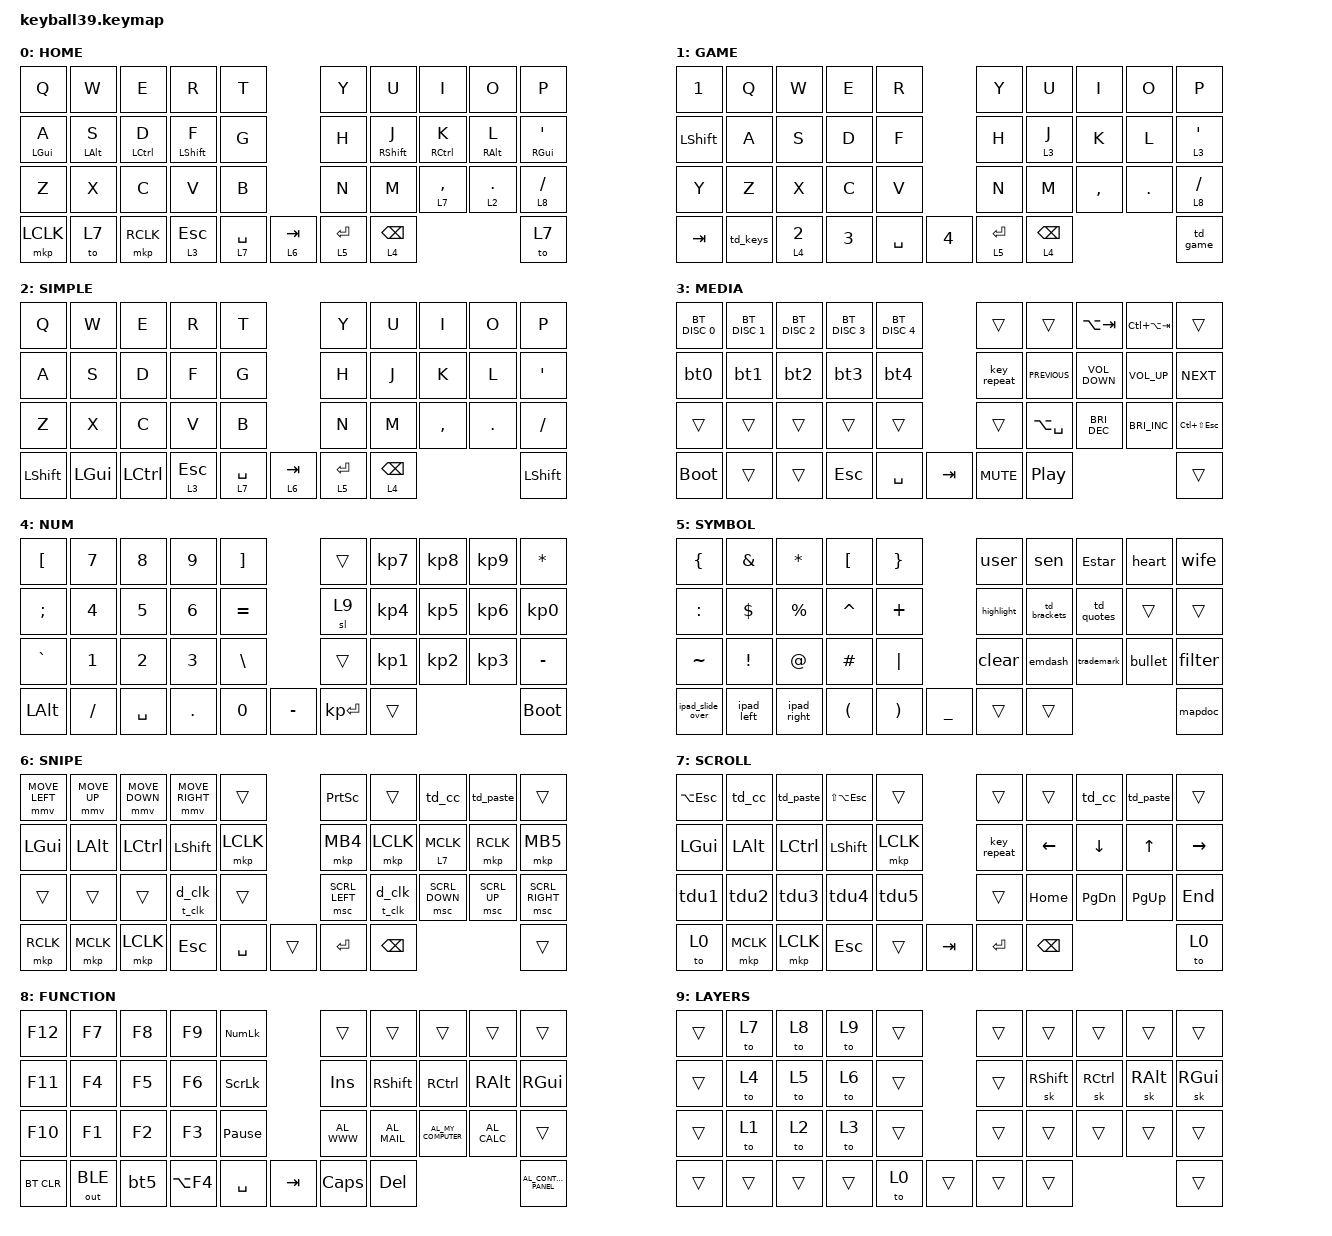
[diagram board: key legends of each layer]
#define DEFAULT 0
#define GAME    1
#define SIMPLE  2
#define MEDIA   3
#define NUMBER  4
#define SYMBOL  5
#define SNIPE   6
#define SCROLL  7
#define FNCT    8
#define LAYERS  9

#include <behaviors/mouse_keys.dtsi>
#include <dt-bindings/zmk/mouse.h>
#include <behaviors.dtsi>
#include <dt-bindings/zmk/bt.h>
#include <dt-bindings/zmk/keys.h>
#include <dt-bindings/zmk/outputs.h>

&lt {
    tapping-term-ms = <100>;
    flavor = "balanced";
    quick-tap-ms = <180>;
};

&mt {
    tapping-term-ms = <200>;
    flavor = "tap-preferred";
    quick-tap-ms = <180>;
};

&sk {
    quick-release;
    release-after-ms = <2000>;
};

&caps_word { continue-list = <UNDERSCORE MINUS>; };

/ {
    behaviors {
        sdash: special_dash {
            compatible = "zmk,behavior-hold-tap";
            label = "SDASH";
            #binding-cells = <2>;
            flavor = "tap-preferred";
            tapping-term-ms = <100>;
            quick-tap-ms = <180>;
            bindings = <&kp>, <&kp>;
        };

        xmclk: special_middle_click {
            compatible = "zmk,behavior-hold-tap";
            label = "XMCLK";
            #binding-cells = <2>;
            flavor = "tap-preferred";
            tapping-term-ms = <100>;
            quick-tap-ms = <180>;
            bindings = <&mo>, <&mkp>;
        };

        td_globe: tap_dance_globe {
            compatible = "zmk,behavior-tap-dance";
            label = "TD_GLOBE";
            #binding-cells = <0>;
            tapping-term-ms = <400>;
            bindings = <&kp GLOBE>, <&kp LG(TAB)>, <&ipad_control>;
        };

        td_globe_2: tap_dance_globe_2 {
            compatible = "zmk,behavior-tap-dance";
            label = "TD_GLOBE_2";
            #binding-cells = <0>;
            tapping-term-ms = <400>;
            bindings = <&kp LG(SPACE)>, <&ipad_dock>, <&ipad_siri>;
        };

        ipad_tools: tap_dance_ipad_tools {
            compatible = "zmk,behavior-tap-dance";
            label = "ipad_tools";
            #binding-cells = <0>;
            tapping-term-ms = <400>;
            bindings =
                <&ipad_home>,
                <&ipad_switcher>,
                <&ipad_library>;
        };

        xpaste: special_paste {
            compatible = "zmk,behavior-hold-tap";
            label = "X_PASTE";
            #binding-cells = <2>;
            flavor = "tap-preferred";
            tapping-term-ms = <180>;
            quick-tap-ms = <180>;
            bindings = <&spaste>, <&kp>;
        };

        xcopy: special_copy {
            compatible = "zmk,behavior-hold-tap";
            label = "X_COPY";
            #binding-cells = <2>;
            flavor = "tap-preferred";
            tapping-term-ms = <180>;
            quick-tap-ms = <180>;
            bindings = <&kp>, <&kp>;
        };

        td_paste: tap_dance_paste {
            compatible = "zmk,behavior-tap-dance";
            label = "TD_PASTE";
            #binding-cells = <0>;
            tapping-term-ms = <180>;
            bindings = <&xpaste 0 LC(V)>, <&kp LG(LS(V))>;
        };

        td_cc: tap_dance_cut_copy {
            compatible = "zmk,behavior-tap-dance";
            label = "TD_CUTCOPY";
            #binding-cells = <0>;
            tapping-term-ms = <180>;
            bindings = <&xcopy LC(X) LC(C)>;
        };

        xlt: goto_layer {
            compatible = "zmk,behavior-hold-tap";
            label = "X_LT";
            #binding-cells = <2>;
            flavor = "tap-preferred";
            tapping-term-ms = <200>;
            quick-tap-ms = <180>;
            bindings = <&mo>, <&kp>;
        };

        slt: simple_layer {
            compatible = "zmk,behavior-hold-tap";
            label = "S_LT";
            #binding-cells = <2>;
            flavor = "tap-preferred";
            tapping-term-ms = <200>;
            quick-tap-ms = <180>;
            bindings = <&kp>, <&to>;
        };

        tdu1: tap_dance_ultrawide_1 {
            compatible = "zmk,behavior-tap-dance";
            label = "TD_ULTRAWIDE_1";
            #binding-cells = <0>;
            tapping-term-ms = <180>;
            bindings = <&kp LC(LG(LA(N1)))>;
        };

        tdu2: tap_dance_ultrawide_2 {
            compatible = "zmk,behavior-tap-dance";
            label = "TD_ULTRAWIDE_2";
            #binding-cells = <0>;
            tapping-term-ms = <180>;
            bindings = <&kp LC(LG(LA(N2)))>;
        };

        tdu3: tap_dance_ultrawide_3 {
            compatible = "zmk,behavior-tap-dance";
            label = "TD_ULTRAWIDE_3";
            #binding-cells = <0>;
            tapping-term-ms = <180>;
            bindings = <&kp LC(LG(LA(N3)))>;
        };

        tdu4: tap_dance_ultrawide_4 {
            compatible = "zmk,behavior-tap-dance";
            label = "TD_ULTRAWIDE_4";
            #binding-cells = <0>;
            tapping-term-ms = <180>;
            bindings = <&kp LC(LG(LA(N4)))>;
        };

        tdu5: tap_dance_ultrawide_5 {
            compatible = "zmk,behavior-tap-dance";
            label = "TD_ULTRAWIDE_5";
            #binding-cells = <0>;
            tapping-term-ms = <180>;
            bindings = <&kp LC(LG(LA(N5)))>;
        };

        xquotes: special_quotes {
            compatible = "zmk,behavior-hold-tap";
            label = "X_QUOTES";
            #binding-cells = <2>;
            flavor = "tap-preferred";
            tapping-term-ms = <50>;
            quick-tap-ms = <120>;
            bindings = <&dquotes>, <&squote>;
        };

        xbrackets: special_brackets {
            compatible = "zmk,behavior-hold-tap";
            label = "X_BRACKETS";
            #binding-cells = <2>;
            flavor = "tap-preferred";
            tapping-term-ms = <50>;
            quick-tap-ms = <120>;
            bindings = <&bracket>, <&parenthesis>;
        };

        xdclk: special_double_click {
            compatible = "zmk,behavior-hold-tap";
            label = "X_DCLK";
            #binding-cells = <2>;
            flavor = "tap-preferred";
            tapping-term-ms = <180>;
            quick-tap-ms = <120>;
            bindings = <&t_clk>, <&d_clk>;
        };

        td_brackets: tap_dance_bracket {
            compatible = "zmk,behavior-tap-dance";
            label = "TD_BRACKET";
            #binding-cells = <0>;
            tapping-term-ms = <180>;
            bindings = <&xbrackets 0 0>, <&brace>;
        };

        td_quotes: tap_dance_quotes {
            compatible = "zmk,behavior-tap-dance";
            label = "TD_QUOTES";
            #binding-cells = <0>;
            tapping-term-ms = <180>;
            bindings = <&xquotes 0 0>, <&lessgreaterthan>;
        };

        x_home: special_home {
            compatible = "zmk,behavior-hold-tap";
            label = "X_HOME";
            #binding-cells = <2>;
            flavor = "tap-preferred";
            tapping-term-ms = <100>;
            quick-tap-ms = <180>;
            bindings = <&kp>, <&kp>;
        };

        x_end: special_end {
            compatible = "zmk,behavior-hold-tap";
            label = "X_END";
            #binding-cells = <2>;
            flavor = "tap-preferred";
            tapping-term-ms = <100>;
            quick-tap-ms = <180>;
            bindings = <&kp>, <&kp>;
        };

        x_ipl: special_ipad_left {
            compatible = "zmk,behavior-hold-tap";
            label = "X_IPAD_LEFT";
            #binding-cells = <2>;
            flavor = "tap-preferred";
            tapping-term-ms = <180>;
            quick-tap-ms = <180>;
            bindings = <&ipad_slidemoveleft>, <&ipad_tileleft>;
        };

        x_ipr: special_ipad_right {
            compatible = "zmk,behavior-hold-tap";
            label = "X_IPAD_RIGHT";
            #binding-cells = <2>;
            flavor = "tap-preferred";
            tapping-term-ms = <180>;
            quick-tap-ms = <180>;
            bindings = <&ipad_slidemoveright>, <&ipad_tileright>;
        };

        ipad_left: tap_dance_ipad_left {
            compatible = "zmk,behavior-tap-dance";
            label = "ipad_left";
            #binding-cells = <0>;
            tapping-term-ms = <180>;
            bindings = <&ipad_prevapp>, <&x_ipl 0 0>;
        };

        ipad_right: tap_dance_ipad_right {
            compatible = "zmk,behavior-tap-dance";
            label = "ipad_right";
            #binding-cells = <0>;
            tapping-term-ms = <180>;
            bindings = <&ipad_nextapp>, <&x_ipr 0 0>;
        };

        ipad_slide_over: tap_dance_ipad_slide_over {
            compatible = "zmk,behavior-tap-dance";
            label = "ipad_slide_over";
            #binding-cells = <0>;
            tapping-term-ms = <400>;
            bindings =
                <&ipad_slide>,
                <&ipad_slidenextwindow>,
                <&ipad_full>,
                <&ipad_replace>;
        };

        td_keys: tap_dance_keys {
            compatible = "zmk,behavior-tap-dance";
            label = "TD_KEYS";
            #binding-cells = <0>;
            tapping-term-ms = <180>;
            bindings = <&kp J>, <&kp T>, <&kp G>, <&kp B>;
        };

        td_game: tap_dance_game {
            compatible = "zmk,behavior-tap-dance";
            label = "TD_GAME";
            #binding-cells = <0>;
            tapping-term-ms = <180>;
            bindings = <&kp LA(F1)>, <&kp LS(LA(F1))>, <&kp LA(Z)>, <&kp LA(F9)>, <&kp LA(R)>;
        };
    };

    macros {
        trademark: trademark {
            compatible = "zmk,behavior-macro";
            #binding-cells = <0>;
            tap-ms = <30>;
            bindings =
                <&macro_press>,
                <&kp LALT>,
                <&macro_tap>,
                <&kp KP_N0 &kp KP_N1 &kp KP_N5 &kp KP_N3>,
                <&macro_release>,
                <&kp LALT>;

            label = "trademark";
        };

        bullet: bullet {
            compatible = "zmk,behavior-macro";
            #binding-cells = <0>;
            tap-ms = <30>;
            bindings =
                <&macro_press>,
                <&kp LALT>,
                <&macro_tap>,
                <&kp KP_N0 &kp KP_N1 &kp KP_N4 &kp KP_N9>,
                <&macro_release>,
                <&kp LALT>;

            label = "bullet";
        };

        emdash: emdash {
            compatible = "zmk,behavior-macro";
            #binding-cells = <0>;
            tap-ms = <30>;
            bindings =
                <&macro_press>,
                <&kp LALT>,
                <&macro_tap>,
                <&kp KP_N0 &kp KP_N1 &kp KP_N5 &kp KP_N1>,
                <&macro_release>,
                <&kp LALT>;

            label = "emdash";
        };

        heart: heart {
            compatible = "zmk,behavior-macro";
            #binding-cells = <0>;
            tap-ms = <30>;
            bindings =
                <&macro_press>,
                <&kp LALT>,
                <&macro_tap>,
                <&kp KP_N3>,
                <&macro_release>,
                <&kp LALT>;

            label = "heart";
        };

        filter: filter {
            compatible = "zmk,behavior-macro";
            #binding-cells = <0>;
            bindings =
                <&macro_press>,
                <&kp LALT>,
                <&macro_tap>,
                <&kp DOWN &kp E>,
                <&macro_release>,
                <&kp LALT>;

            label = "filter";
        };

        highlight: highlight {
            compatible = "zmk,behavior-macro";
            #binding-cells = <0>;
            tap-ms = <30>;
            bindings = <&kp LALT &kp N7 &kp W &kp DOWN &kp DOWN &kp DOWN &kp DOWN &kp DOWN &kp ENTER>;
            label = "highlight";
        };

        clear: clear {
            compatible = "zmk,behavior-macro";
            #binding-cells = <0>;
            tap-ms = <30>;
            bindings =
                <&macro_press>,
                <&kp LGUI>,
                <&macro_tap>,
                <&kp R>,
                <&macro_release>,
                <&kp LGUI>,
                <&macro_wait_time 200>,
                <&macro_press>,
                <&kp LGUI>,
                <&macro_tap>,
                <&kp V>,
                <&macro_release>,
                <&kp LGUI>,
                <&macro_wait_time 300>,
                <&macro_press>,
                <&kp LSFT>,
                <&macro_tap>,
                <&kp TAB>,
                <&macro_tap>,
                <&kp TAB>,
                <&macro_release>,
                <&kp LSFT>,
                <&macro_tap>,
                <&kp ENTER>,
                <&macro_tap>,
                <&kp ESCAPE>,
                <&macro_tap>,
                <&kp ESCAPE>;

            label = "clear";
        };

        spaste: spaste {
            compatible = "zmk,behavior-macro";
            #binding-cells = <0>;
            bindings = <&kp LG(LS(V))>, <&macro_wait_time 400>, <&kp LC(N1)>;

            label = "spaste";
        };

        parenthesis: parenthesis {
            compatible = "zmk,behavior-macro";
            #binding-cells = <0>;
            bindings = <&kp LEFT_PARENTHESIS &kp RIGHT_PARENTHESIS &kp LEFT>;
            label = "parenthesis";
        };

        bracket: bracket {
            compatible = "zmk,behavior-macro";
            #binding-cells = <0>;
            bindings = <&kp LEFT_BRACKET &kp RIGHT_BRACKET &kp LEFT>;
            label = "bracket";
        };

        brace: brace {
            compatible = "zmk,behavior-macro";
            #binding-cells = <0>;
            bindings = <&kp LEFT_BRACE &kp RIGHT_BRACE &kp LEFT>;
            label = "brace";
        };

        lessgreaterthan: lessgreaterthan {
            compatible = "zmk,behavior-macro";
            #binding-cells = <0>;
            bindings = <&kp LESS_THAN &kp GREATER_THAN &kp LEFT>;
            label = "lessgreaterthan";
        };

        squote: squote {
            compatible = "zmk,behavior-macro";
            #binding-cells = <0>;
            bindings = <&kp SINGLE_QUOTE &kp SINGLE_QUOTE &kp LEFT>;
            label = "squote";
        };

        dquotes: dquotes {
            compatible = "zmk,behavior-macro";
            #binding-cells = <0>;
            bindings = <&kp DOUBLE_QUOTES &kp DOUBLE_QUOTES &kp LEFT>;
            label = "dquotes";
        };

        t_mute: t_mute {
            compatible = "zmk,behavior-macro";
            #binding-cells = <0>;
            bindings = <&mkp LCLK &kp LC(LS(M))>;
            label = "t_mute";
        };

        ipad_home: ipad_home {
            compatible = "zmk,behavior-macro";
            #binding-cells = <0>;
            tap-ms = <30>;
            bindings =
                <&macro_press>,
                <&kp GLOBE>,
                <&macro_tap>,
                <&kp H>,
                <&macro_release>,
                <&kp GLOBE>;

            label = "ipad_home";
        };

        ipad_dock: ipad_dock {
            compatible = "zmk,behavior-macro";
            #binding-cells = <0>;
            tap-ms = <30>;
            bindings =
                <&macro_press>,
                <&kp GLOBE>,
                <&macro_tap>,
                <&kp A>,
                <&macro_release>,
                <&kp GLOBE>;

            label = "ipad_dock";
        };

        ipad_library: ipad_library {
            compatible = "zmk,behavior-macro";
            #binding-cells = <0>;
            tap-ms = <30>;
            bindings =
                <&macro_press>,
                <&kp LSHIFT &kp GLOBE>,
                <&macro_tap>,
                <&kp A>,
                <&macro_release>,
                <&kp LSHIFT &kp GLOBE>;

            label = "ipad_library";
        };

        ipad_siri: ipad_siri {
            compatible = "zmk,behavior-macro";
            #binding-cells = <0>;
            tap-ms = <30>;
            bindings =
                <&macro_press>,
                <&kp GLOBE>,
                <&macro_tap>,
                <&kp S>,
                <&macro_release>,
                <&kp GLOBE>;

            label = "ipad_siri";
        };

        ipad_control: ipad_control {
            compatible = "zmk,behavior-macro";
            #binding-cells = <0>;
            tap-ms = <30>;
            bindings =
                <&macro_press>,
                <&kp GLOBE>,
                <&macro_tap>,
                <&kp C>,
                <&macro_release>,
                <&kp GLOBE>;

            label = "ipad_control";
        };

        ipad_switcher: ipad_switcher {
            compatible = "zmk,behavior-macro";
            #binding-cells = <0>;
            tap-ms = <30>;
            bindings =
                <&macro_press>,
                <&kp GLOBE>,
                <&macro_tap>,
                <&kp UP>,
                <&macro_release>,
                <&kp GLOBE>;

            label = "ipad_switcher";
        };

        ipad_nextapp: ipad_nextapp {
            compatible = "zmk,behavior-macro";
            #binding-cells = <0>;
            tap-ms = <30>;
            bindings =
                <&macro_press>,
                <&kp GLOBE>,
                <&macro_tap>,
                <&kp RIGHT>,
                <&macro_release>,
                <&kp GLOBE>;

            label = "ipad_nextapp";
        };

        ipad_prevapp: ipad_prevapp {
            compatible = "zmk,behavior-macro";
            #binding-cells = <0>;
            tap-ms = <30>;
            bindings =
                <&macro_press>,
                <&kp GLOBE>,
                <&macro_tap>,
                <&kp LEFT>,
                <&macro_release>,
                <&kp GLOBE>;

            label = "ipad_prevapp";
        };

        ipad_full: ipad_full {
            compatible = "zmk,behavior-macro";
            #binding-cells = <0>;
            tap-ms = <30>;
            bindings =
                <&macro_press>,
                <&kp GLOBE>,
                <&macro_tap>,
                <&kp F>,
                <&macro_release>,
                <&kp GLOBE>;

            label = "ipad_full";
        };

        ipad_tileleft: ipad_tileleft {
            compatible = "zmk,behavior-macro";
            #binding-cells = <0>;
            tap-ms = <30>;
            bindings =
                <&macro_press>,
                <&kp LCTRL &kp GLOBE>,
                <&macro_tap>,
                <&kp LEFT>,
                <&macro_release>,
                <&kp LCTRL &kp GLOBE>;

            label = "ipad_tileleft";
        };

        ipad_tileright: ipad_tileright {
            compatible = "zmk,behavior-macro";
            #binding-cells = <0>;
            tap-ms = <30>;
            bindings =
                <&macro_press>,
                <&kp LCTRL &kp GLOBE>,
                <&macro_tap>,
                <&kp RIGHT>,
                <&macro_release>,
                <&kp LCTRL &kp GLOBE>;

            label = "ipad_tileright";
        };

        ipad_replace: ipad_replace {
            compatible = "zmk,behavior-macro";
            #binding-cells = <0>;
            tap-ms = <30>;
            bindings =
                <&macro_press>,
                <&kp LCTRL &kp GLOBE>,
                <&macro_tap>,
                <&kp DOWN>,
                <&macro_release>,
                <&kp LCTRL &kp GLOBE>;

            label = "ipad_replace";
        };

        ipad_slide: ipad_slide {
            compatible = "zmk,behavior-macro";
            #binding-cells = <0>;
            tap-ms = <30>;
            bindings =
                <&macro_press>,
                <&kp GLOBE>,
                <&macro_tap>,
                <&kp BSLH>,
                <&macro_release>,
                <&kp GLOBE>;

            label = "ipad_slide";
        };

        ipad_slidemoveleft: ipad_slidemoveleft {
            compatible = "zmk,behavior-macro";
            #binding-cells = <0>;
            tap-ms = <30>;
            bindings =
                <&macro_press>,
                <&kp LALT &kp GLOBE>,
                <&macro_tap>,
                <&kp LEFT>,
                <&macro_release>,
                <&kp LALT &kp GLOBE>;

            label = "ipad_slidemoveleft";
        };

        ipad_slidemoveright: ipad_slidemoveright {
            compatible = "zmk,behavior-macro";
            #binding-cells = <0>;
            tap-ms = <30>;
            bindings =
                <&macro_press>,
                <&kp LALT &kp GLOBE>,
                <&macro_tap>,
                <&kp RIGHT>,
                <&macro_release>,
                <&kp LALT &kp GLOBE>;

            label = "ipad_slidemoveright";
        };

        ipad_slidenextwindow: ipad_slidenextwindow {
            compatible = "zmk,behavior-macro";
            #binding-cells = <0>;
            tap-ms = <30>;
            bindings =
                <&macro_press>,
                <&kp LGUI &kp GLOBE>,
                <&macro_tap>,
                <&kp BSLH>,
                <&macro_release>,
                <&kp LGUI &kp GLOBE>;

            label = "ipad_slidenextwindow";
        };

        sen: sen {
            compatible = "zmk,behavior-macro";
            #binding-cells = <0>;
            bindings = <&kp S &kp R &kp O &kp G &kp E &kp N4 &kp N4 &kp LS(C) &kp LS(A) &kp RET>;
            label = "SEN";
        };

        bt0: bt0 {
            compatible = "zmk,behavior-macro";
            #binding-cells = <0>;
            bindings = <&bt BT_SEL 0>, <&bt BT_DISC 2>, <&bt BT_DISC 4>;
            label = "bt0";
        };

        bt1: bt1 {
            compatible = "zmk,behavior-macro";
            #binding-cells = <0>;
            bindings = <&bt BT_SEL 1>, <&bt BT_DISC 2>, <&bt BT_DISC 4>;
            label = "bt1";
        };

        bt2: bt2 {
            compatible = "zmk,behavior-macro";
            #binding-cells = <0>;
            bindings = <&bt BT_SEL 2>, <&bt BT_DISC 4>;
            label = "bt2";
        };

        bt3: bt3 {
            compatible = "zmk,behavior-macro";
            #binding-cells = <0>;
            bindings = <&bt BT_SEL 3>, <&bt BT_DISC 2>, <&bt BT_DISC 4>;
            label = "bt3";
        };

        bt4: bt4 {
            compatible = "zmk,behavior-macro";
            #binding-cells = <0>;
            bindings = <&bt BT_SEL 4>, <&bt BT_DISC 2>;
            label = "bt4";
        };

        bt5: bt5 {
            compatible = "zmk,behavior-macro";
            #binding-cells = <0>;
            bindings = <&out OUT_USB>, <&bt BT_DISC 2>, <&bt BT_DISC 4>;
            label = "bt5";
        };

        user: user {
            compatible = "zmk,behavior-macro";
            #binding-cells = <0>;
            bindings = <&kp S &kp E &kp A &kp N &kp DOT &kp C &kp H &kp E &kp O &kp W &kp AT &kp R &kp C &kp I &kp DOT &kp R &kp O &kp G &kp E &kp R &kp S &kp DOT &kp C &kp A>;
            label = "user";
        };

        wife: wife {
            compatible = "zmk,behavior-macro";
            #binding-cells = <0>;
            bindings = <&kp LS(I) &kp SPACE &kp L &kp O &kp V &kp E &kp SPACE &kp Y &kp O &kp U &kp SPACE &kp LS(V) &kp I &kp C &kp T &kp O &kp R &kp I &kp A &kp EXCL &kp EXCL &kp EXCL>;
            label = "wife";
        };

        mapdoc: mapdoc {
            compatible = "zmk,behavior-macro";
            #binding-cells = <0>;
            bindings = <&kp R &kp B &kp DOT &kp G &kp Y &kp FSLH &kp X &kp D &kp G &kp V &kp R &kp N9>;
            label = "MAPDOC";
        };

        Estar: Estar {
            compatible = "zmk,behavior-macro";
            #binding-cells = <0>;
            bindings = <&kp N8 &kp N3 &kp LS(A) &kp LS(A) &kp AMPS &kp Y &kp STAR &kp APOS>;
            label = "ESTAR";
        };

        d_clk: double_click_macro {
            compatible = "zmk,behavior-macro";
            #binding-cells = <0>;
            wait-ms = <10>;  
            tap-ms = <10>;  
            bindings = <&mkp LCLK &mkp LCLK>;
        };

        t_clk: triple_click_macro {
            compatible = "zmk,behavior-macro";
            #binding-cells = <0>;
            wait-ms = <10>;  
            tap-ms = <10>;  
            bindings = <&mkp LCLK &mkp LCLK &mkp LCLK>;
        };
    };

    combos {
        compatible = "zmk,combos";

        mdot_DEL {
            bindings = <&kp DELETE>;
            key-positions = <26 28>;
            layers = <0>;
            timeout-ms = <60>;
        };

        punc_LSFT {
            bindings = <&sk LEFT_SHIFT>;
            key-positions = <27 28>;
            layers = <0>;
            timeout-ms = <60>;
        };

        xc_LSFT {
            bindings = <&sk LSHIFT>;
            key-positions = <21 22>;
            layers = <0>;
            timeout-ms = <60>;
        };

        sticky_CTRL {
            bindings = <&sk LCTRL>;
            key-positions = <0 9>;
            layers = <0>;
            require-prior-idle-ms = <400>;
            timeout-ms = <60>;
        };

        sticky_ALT {
            bindings = <&sk LEFT_ALT>;
            key-positions = <20 29>;
            layers = <0>;
            require-prior-idle-ms = <400>;
            timeout-ms = <60>;
        };

        vm_UNDERSCORE_DASH {
            bindings = <&sdash UNDERSCORE MINUS>;
            key-positions = <23 26>;
            layers = <0>;
            require-prior-idle-ms = <200>;
            timeout-ms = <60>;
        };

        jk_LCLK {
            bindings = <&mkp LCLK>;
            key-positions = <16 17>;
            layers = <0 1 6>;
            require-prior-idle-ms = <200>;
            timeout-ms = <70>;

        };

        ll_RCLK {
            bindings = <&mkp RCLK>;
            key-positions = <19 18>;
            layers = <0 1 6>;
            require-prior-idle-ms = <200>;
            timeout-ms = <70>;
        };

        mm_MCLK {
            bindings = <&mkp MCLK>;
            key-positions = <26 27>;
            layers = <0 1 6>;
            require-prior-idle-ms = <200>;
            timeout-ms = <60>;
        };

        zv_TASKS {
            bindings = <&kp LC(LA(TAB))>;
            key-positions = <20 23>;
            layers = <0 6>;
            require-prior-idle-ms = <180>;
            timeout-ms = <70>;
        };

        esc_TASKS {
            bindings = <&kp LC(LA(TAB))>;
            key-positions = <8 33>;
            layers = <0 6>;
            timeout-ms = <70>;
        };

        xv_SWITCH {
            bindings = <&kp LA(TAB)>;
            key-positions = <21 23>;
            layers = <0 6>;
            require-prior-idle-ms = <180>;
            timeout-ms = <70>;
        };

        esc_SWITCH {
            bindings = <&kp LA(TAB)>;
            key-positions = <7 33>;
            layers = <0 6>;
            timeout-ms = <70>;
        };

        mslash_LAUNCHER {
            bindings = <&kp LA(SPACE)>;
            key-positions = <26 29>;
            layers = <0 6>;
            require-prior-idle-ms = <180>;
            timeout-ms = <70>;
        };

        esc_LAUNCHER {
            bindings = <&kp LA(SPACE)>;
            key-positions = <26 33>;
            layers = <0 6>;
            timeout-ms = <70>;
        };

        esc_TASK_MANAGER {
            bindings = <&kp LC(LS(ESCAPE))>;
            key-positions = <29 33>;
            layers = <0 6>;
            timeout-ms = <70>;
        };

        cv_MENU {
            bindings = <&kp K_CONTEXT_MENU>;
            key-positions = <22 23>;
            layers = <0 6>;
            require-prior-idle-ms = <200>;
            timeout-ms = <60>;
        };

        quick_clipboard {
            bindings = <&kp LG(V)>;
            key-positions = <19 23>;
            layers = <0>;
            require-prior-idle-ms = <400>;
            timeout-ms = <60>;
        };

        quick_clipboard_2 {
            bindings = <&kp LG(V)>;
            key-positions = <10 23>;
            layers = <0>;
            require-prior-idle-ms = <400>;
            timeout-ms = <60>;
        };

        quick_home {
            bindings = <&x_home LS(HOME) HOME>;
            key-positions = <26 34>;
            timeout-ms = <70>;
            require-prior-idle-ms = <500>;
            layers = <0>;
        };

        quick_end {
            bindings = <&x_end LS(END) END>;
            key-positions = <29 34>;
            timeout-ms = <70>;
            require-prior-idle-ms = <500>;
            layers = <0>;
        };

        quick_repeat {
             bindings = <&key_repeat>;
             key-positions = <15 34>;
             timeout-ms = <70>;
             require-prior-idle-ms = <500>;
             layers = <0>;
         };

        dbl_CLK {
            bindings = <&xdclk 0 0>;
            key-positions = <26 35>;
            layers = <0>;
            timeout-ms = <70>;
        };

        extra_dbl_CLK {
            bindings = <&xdclk 0 0>;
            key-positions = <23 35>;
            layers = <0>;
            timeout-ms = <70>;
        };

        extra_LCLK {
            bindings = <&mkp LCLK>;
            key-positions = <16 35>;
            layers = <0>;
            timeout-ms = <70>;
        };

        extra_LCLK_2 {
            bindings = <&mkp LCLK>;
            key-positions = <14 35>;
            layers = <0>;
            timeout-ms = <70>;
            slow-release;
        };

        extra_LCLK_3 {
            bindings = <&mkp LCLK>;
            key-positions = <13 35>;
            layers = <0>;
            slow-release;
        };

        extra_RCLK {
            bindings = <&mkp RCLK>;
            key-positions = <18 35>;
            layers = <0>;
            timeout-ms = <70>;
            slow-release;
        };

        extra_RCLK_2 {
            bindings = <&mkp RCLK>;
            key-positions = <30 32>;
            timeout-ms = <70>;
            layers = <0>;
        };

        extra_MB4 {
            bindings = <&mkp MB4>;
            key-positions = <15 35>;
            timeout-ms = <70>;
            layers = <0>;
        };

        extra_MB5 {
            bindings = <&mkp MB5>;
            key-positions = <19 35>;
            timeout-ms = <70>;
            layers = <0>;
        };

        extra_COPY {
            bindings = <&td_cc>;
            key-positions = <7 35>;
            timeout-ms = <70>;
            layers = <0>;
        };

        extra_PASTE {
            bindings = <&td_paste>;
            key-positions = <8 35>;
            timeout-ms = <70>;
            layers = <0>;
        };

        easy_exit {
            bindings = <&to 0>;
            key-positions = <31 32>;
            layers = <0 1 2 3 4 5 6 7 8 9>;
        };

        game_sticky {
            bindings = <&sl 2>;
            key-positions = <30 32>;
            layers = <1>;
        };

        game_escape {
            bindings = <&kp ESCAPE>;
            key-positions = <33 23>;
            layers = <1>;
        };

        home_to_game {
            bindings = <&to 1>;
            key-positions = <30 31>;
            layers = <0>;
        };

        game_to_home {
            bindings = <&to 0>;
            key-positions = <30 31>;
            layers = <1>;
        };

       game_map {
            bindings = <&kp M>;
            key-positions = <20 22>;
            layers = <1>;
            timeout-ms = <60>;
        };

        quick_globe {
            bindings = <&td_globe>;
            key-positions = <20 21>;
            timeout-ms = <70>;
            require-prior-idle-ms = <400>;
            layers = <0>;
        };

        quick_ipad_tools {
            bindings = <&ipad_tools>;
            key-positions = <28 29>;
            timeout-ms = <70>;
            require-prior-idle-ms = <400>;
            layers = <0>;
        };

        quick_ipad_extra {
            bindings = <&td_globe_2>;
            key-positions = <20 21 28 29>;
            timeout-ms = <70>;
            require-prior-idle-ms = <400>;
            layers = <0>;
        };

        mm_CAPSWORD {
            bindings = <&caps_word>;
            key-positions = <21 28>;
            layers = <0>;
            timeout-ms = <70>;
        };

        mm_CAPS {
            bindings = <&kp CAPSLOCK>;
            key-positions = <22 27>;
            layers = <0>;
            timeout-ms = <70>;
        };

        quick_mute {
            bindings = <&t_mute>;
            key-positions = <23 33>;
            layers = <0 3>;
            require-prior-idle-ms = <500>;
        };

        quick_layers {
            bindings = <&sl 9>;
            key-positions = <15 37>;
            layers = <0 1 2 3 4 5 6 7 8 9>;
            require-prior-idle-ms = <400>;
            timeout-ms = <70>;
        };
    };

    keymap {
        compatible = "zmk,keymap";

        default_layer {
            label = "HOME";
            bindings = <
&kp Q           &kp W           &kp E        &kp R             &kp T                                &kp Y            &kp U        &kp I         &kp O            &kp P
&mt LGUI A      &mt LALT S      &mt LCTRL D  &mt LSHFT F       &kp G                                &kp H            &mt RSHFT J  &mt RCTRL K   &mt RALT L       &mt RGUI SQT
&kp Z           &kp X           &kp C        &kp V             &kp B                                &kp N            &kp M        &xlt 7 COMMA  &xlt 2 DOT       &xlt 8 SLASH
&mkp LCLK       &to 7           &mkp RCLK    &lt 3 ESCAPE      &lt 7 SPACE  &lt 6 TAB  &lt 5 ENTER  &lt 4 BACKSPACE                                              &to 7
            >;
        };

        gaming_layer {
            bindings = <
&kp N1          &kp Q       &kp W    &kp E         &kp R                                 &kp Y            &kp U  &kp I      &kp O    &kp P
&kp LEFT_SHIFT  &kp A       &kp S    &kp D         &kp F                                 &kp H            &lt 3 J &kp K     &kp L    &lt 3 APOS
&kp Y           &kp Z       &kp X    &kp C         &kp V                                 &kp N            &kp M  &kp COMMA  &kp DOT  &lt 8 SLASH
&kp TAB         &td_keys    &xlt 4 N2 &kp N3       &kp SPACE  &kp N4  &lt 5 ENTER        &lt 4 BACKSPACE                             &td_game
            >;

            label = "GAME";
        };

        simple_layer {
            bindings = <
&kp Q           &kp W         &kp E      &kp R       &kp T                            &kp Y            &kp U  &kp I      &kp O    &kp P
&kp A           &kp S         &kp D      &kp F       &kp G                            &kp H            &kp J  &kp K      &kp L    &kp APOS
&kp Z           &kp X         &kp C      &kp V       &kp B                            &kp N            &kp M  &kp COMMA  &kp DOT  &kp FSLH
&kp LSHFT       &kp LGUI      &kp LCTRL  &lt 3 ESC   &lt 7 SPACE  &lt 6 TAB  &lt 5 ENTER  &lt 4 BACKSPACE                         &kp LSHFT
            >;

            label = "SIMPLE";
        };

        media_layer {
            label = "MEDIA";
            bindings = <
&bt BT_DISC 0  &bt BT_DISC 1     &bt BT_DISC 2  &bt BT_DISC 3  &bt BT_DISC 4                       &trans            &trans          &kp LA(TAB)        &kp LC(LA(TAB))  &trans
&bt0           &bt1              &bt2           &bt3           &bt4                                &key_repeat       &kp C_PREVIOUS  &kp C_VOLUME_DOWN  &kp C_VOLUME_UP  &kp C_NEXT
&trans         &trans            &trans         &trans         &trans                              &trans            &kp LA(SPACE)   &kp C_BRI_DEC      &kp C_BRI_INC    &kp LC(LS(ESCAPE))
&bootloader    &trans            &trans         &kp ESCAPE     &kp SPACE      &kp TAB  &kp C_MUTE  &kp C_PLAY_PAUSE                                                      &trans
            >;
        };

        number_layer {
            label = "NUM";
            bindings = <
&kp LEFT_BRACKET  &kp NUMBER_7  &kp NUMBER_8  &kp NUMBER_9  &kp RIGHT_BRACKET                           &trans          &kp KP_N7        &kp KP_N8  &kp KP_N9  &kp STAR
&kp SEMICOLON     &kp NUMBER_4  &kp NUMBER_5  &kp NUMBER_6  &kp EQUAL                                   &sl 9           &kp KP_N4        &kp KP_N5  &kp KP_N6  &kp KP_N0
&kp GRAVE         &kp NUMBER_1  &kp NUMBER_2  &kp NUMBER_3  &kp BACKSLASH                               &trans          &kp KP_N1        &kp KP_N2  &kp KP_N3  &kp MINUS
&kp LEFT_ALT      &kp FSLH      &kp SPACE     &kp DOT       &kp NUMBER_0       &kp MINUS  &kp KP_ENTER  &trans                                                 &bootloader
            >;
        };

        symbol_layer {
            label = "SYMBOL";
            bindings = <
&kp LEFT_BRACE  &kp AMPERSAND  &kp ASTERISK  &kp LEFT_BRACKET      &kp RIGHT_BRACE                                &user       &sen          &Estar      &heart   &wife
&kp COLON       &kp DOLLAR     &kp PERCENT   &kp CARET             &kp PLUS                                       &highlight  &td_brackets  &td_quotes  &trans   &trans
&kp TILDE       &kp EXCL       &kp AT        &kp HASH              &kp PIPE                                       &clear      &emdash       &trademark  &bullet  &filter
&ipad_slide_over &ipad_left    &ipad_right   &kp LEFT_PARENTHESIS  &kp RIGHT_PARENTHESIS  &kp UNDERSCORE  &trans  &trans                                         &mapdoc
            >;
        };

        snipe_layer {
            label = "SNIPE";
            bindings = <
&mmv MOVE_LEFT  &mmv MOVE_UP  &mmv MOVE_DOWN  &mmv MOVE_RIGHT  &trans                           &kp PRINTSCREEN  &trans          &td_cc          &td_paste     &trans
&kp LGUI        &kp LALT      &kp LCTRL       &kp LSHFT        &mkp LCLK                        &mkp MB4         &mkp LCLK       &xmclk 7 MCLK   &mkp RCLK     &mkp MB5
&trans          &trans        &trans          &xdclk 0 0       &trans                           &msc SCRL_LEFT   &xdclk 0 0      &msc SCRL_DOWN  &msc SCRL_UP  &msc SCRL_RIGHT
&mkp RCLK       &mkp MCLK     &mkp LCLK       &kp ESCAPE       &kp SPACE     &trans  &kp ENTER  &kp BACKSPACE                                                  &trans
            >;
        };

        scroll_layer {
            label = "SCROLL";
            bindings = <
&kp LA(ESC)   &td_cc     &td_paste  &kp LS(LA(ESC))  &trans                      &trans         &trans          &td_cc          &td_paste     &trans
&kp LGUI      &kp LALT   &kp LCTRL  &kp LSHFT        &mkp LCLK                   &key_repeat    &kp LEFT_ARROW  &kp DOWN_ARROW  &kp UP_ARROW  &kp RIGHT_ARROW
&tdu1         &tdu2      &tdu3      &tdu4            &tdu5                       &trans         &kp HOME        &kp PAGE_DOWN   &kp PAGE_UP   &kp END
&to 0         &mkp MCLK  &mkp LCLK  &kp ESC          &trans  &kp TAB  &kp ENTER  &kp BACKSPACE                                                &to 0
            >;
        };

        function_layer {
            bindings = <
&kp F12     &kp F7        &kp F8      &kp F9   &kp KP_NUMLOCK                          &trans        &trans           &trans                &trans         &trans
&kp F11     &kp F4        &kp F5      &kp F6   &kp SCROLLLOCK                          &kp INS       &kp RSHIFT       &kp RCTRL             &kp RALT       &kp RGUI
&kp F10     &kp F1        &kp F2      &kp F3   &kp PAUSE_BREAK                         &kp C_AL_WWW  &kp C_AL_MAIL    &kp C_AL_MY_COMPUTER  &kp C_AL_CALC  &trans
&bt BT_CLR  &out OUT_BLE  &bt5        &kp LA(F4) &kp SPACE        &kp TAB  &kp CAPSLOCK  &kp DELETE                                                          &kp C_AL_CONTROL_PANEL
            >;

            label = "FUNCTION";
        };

        layers_layer {
            bindings = <
&trans        &to 7       &to 8    &to 9    &trans                          &trans        &trans           &trans              &trans         &trans
&trans        &to 4       &to 5    &to 6    &trans                          &trans        &sk RSHFT        &sk RCTRL           &sk RALT       &sk RGUI
&trans        &to 1       &to 2    &to 3    &trans                          &trans        &trans           &trans              &trans         &trans
&trans        &trans      &trans   &trans   &to 0          &trans  &trans   &trans                                                            &trans
            >;

            label = "LAYERS";
        };
    };
};
